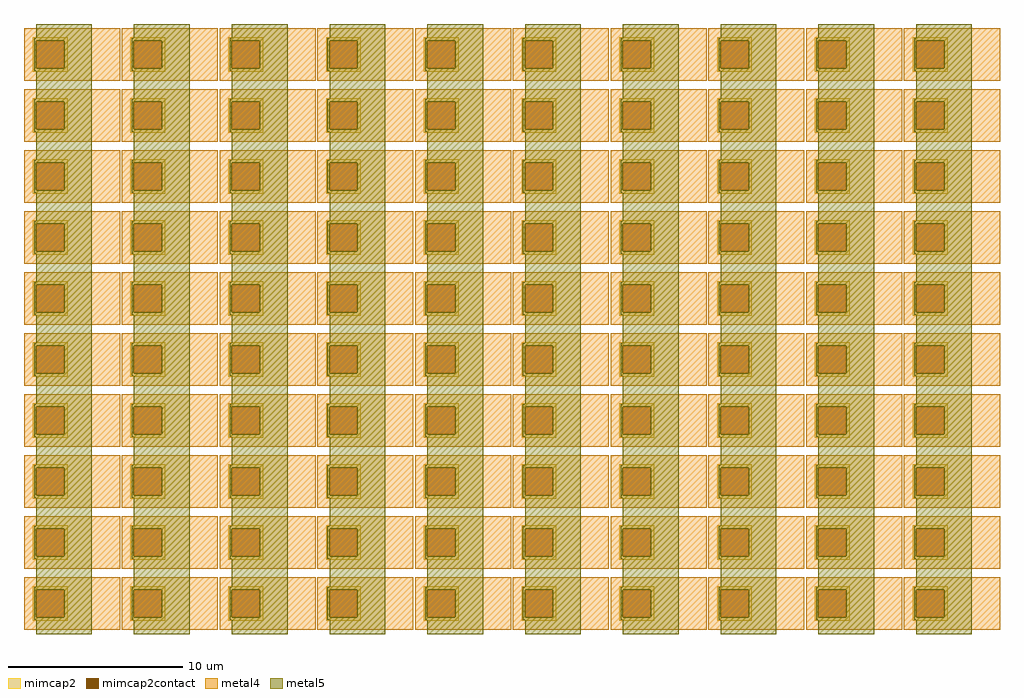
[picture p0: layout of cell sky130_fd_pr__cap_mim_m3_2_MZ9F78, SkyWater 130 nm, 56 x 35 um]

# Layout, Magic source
magic
tech sky130A
<< metal4 >>
rect -2800 1425 -2249 1725
rect -2239 1425 -1688 1725
rect -1678 1425 -1127 1725
rect -1117 1425 -566 1725
rect -556 1425 -5 1725
rect 5 1425 556 1725
rect 566 1425 1117 1725
rect 1127 1425 1678 1725
rect 1688 1425 2239 1725
rect 2249 1425 2800 1725
rect -2800 1075 -2249 1375
rect -2239 1075 -1688 1375
rect -1678 1075 -1127 1375
rect -1117 1075 -566 1375
rect -556 1075 -5 1375
rect 5 1075 556 1375
rect 566 1075 1117 1375
rect 1127 1075 1678 1375
rect 1688 1075 2239 1375
rect 2249 1075 2800 1375
rect -2800 725 -2249 1025
rect -2239 725 -1688 1025
rect -1678 725 -1127 1025
rect -1117 725 -566 1025
rect -556 725 -5 1025
rect 5 725 556 1025
rect 566 725 1117 1025
rect 1127 725 1678 1025
rect 1688 725 2239 1025
rect 2249 725 2800 1025
rect -2800 375 -2249 675
rect -2239 375 -1688 675
rect -1678 375 -1127 675
rect -1117 375 -566 675
rect -556 375 -5 675
rect 5 375 556 675
rect 566 375 1117 675
rect 1127 375 1678 675
rect 1688 375 2239 675
rect 2249 375 2800 675
rect -2800 25 -2249 325
rect -2239 25 -1688 325
rect -1678 25 -1127 325
rect -1117 25 -566 325
rect -556 25 -5 325
rect 5 25 556 325
rect 566 25 1117 325
rect 1127 25 1678 325
rect 1688 25 2239 325
rect 2249 25 2800 325
rect -2800 -325 -2249 -25
rect -2239 -325 -1688 -25
rect -1678 -325 -1127 -25
rect -1117 -325 -566 -25
rect -556 -325 -5 -25
rect 5 -325 556 -25
rect 566 -325 1117 -25
rect 1127 -325 1678 -25
rect 1688 -325 2239 -25
rect 2249 -325 2800 -25
rect -2800 -675 -2249 -375
rect -2239 -675 -1688 -375
rect -1678 -675 -1127 -375
rect -1117 -675 -566 -375
rect -556 -675 -5 -375
rect 5 -675 556 -375
rect 566 -675 1117 -375
rect 1127 -675 1678 -375
rect 1688 -675 2239 -375
rect 2249 -675 2800 -375
rect -2800 -1025 -2249 -725
rect -2239 -1025 -1688 -725
rect -1678 -1025 -1127 -725
rect -1117 -1025 -566 -725
rect -556 -1025 -5 -725
rect 5 -1025 556 -725
rect 566 -1025 1117 -725
rect 1127 -1025 1678 -725
rect 1688 -1025 2239 -725
rect 2249 -1025 2800 -725
rect -2800 -1375 -2249 -1075
rect -2239 -1375 -1688 -1075
rect -1678 -1375 -1127 -1075
rect -1117 -1375 -566 -1075
rect -556 -1375 -5 -1075
rect 5 -1375 556 -1075
rect 566 -1375 1117 -1075
rect 1127 -1375 1678 -1075
rect 1688 -1375 2239 -1075
rect 2249 -1375 2800 -1075
rect -2800 -1725 -2249 -1425
rect -2239 -1725 -1688 -1425
rect -1678 -1725 -1127 -1425
rect -1117 -1725 -566 -1425
rect -556 -1725 -5 -1425
rect 5 -1725 556 -1425
rect 566 -1725 1117 -1425
rect 1127 -1725 1678 -1425
rect 1688 -1725 2239 -1425
rect 2249 -1725 2800 -1425
<< mimcap2 >>
rect -2750 1655 -2550 1675
rect -2750 1495 -2730 1655
rect -2570 1495 -2550 1655
rect -2750 1475 -2550 1495
rect -2189 1655 -1989 1675
rect -2189 1495 -2169 1655
rect -2009 1495 -1989 1655
rect -2189 1475 -1989 1495
rect -1628 1655 -1428 1675
rect -1628 1495 -1608 1655
rect -1448 1495 -1428 1655
rect -1628 1475 -1428 1495
rect -1067 1655 -867 1675
rect -1067 1495 -1047 1655
rect -887 1495 -867 1655
rect -1067 1475 -867 1495
rect -506 1655 -306 1675
rect -506 1495 -486 1655
rect -326 1495 -306 1655
rect -506 1475 -306 1495
rect 55 1655 255 1675
rect 55 1495 75 1655
rect 235 1495 255 1655
rect 55 1475 255 1495
rect 616 1655 816 1675
rect 616 1495 636 1655
rect 796 1495 816 1655
rect 616 1475 816 1495
rect 1177 1655 1377 1675
rect 1177 1495 1197 1655
rect 1357 1495 1377 1655
rect 1177 1475 1377 1495
rect 1738 1655 1938 1675
rect 1738 1495 1758 1655
rect 1918 1495 1938 1655
rect 1738 1475 1938 1495
rect 2299 1655 2499 1675
rect 2299 1495 2319 1655
rect 2479 1495 2499 1655
rect 2299 1475 2499 1495
rect -2750 1305 -2550 1325
rect -2750 1145 -2730 1305
rect -2570 1145 -2550 1305
rect -2750 1125 -2550 1145
rect -2189 1305 -1989 1325
rect -2189 1145 -2169 1305
rect -2009 1145 -1989 1305
rect -2189 1125 -1989 1145
rect -1628 1305 -1428 1325
rect -1628 1145 -1608 1305
rect -1448 1145 -1428 1305
rect -1628 1125 -1428 1145
rect -1067 1305 -867 1325
rect -1067 1145 -1047 1305
rect -887 1145 -867 1305
rect -1067 1125 -867 1145
rect -506 1305 -306 1325
rect -506 1145 -486 1305
rect -326 1145 -306 1305
rect -506 1125 -306 1145
rect 55 1305 255 1325
rect 55 1145 75 1305
rect 235 1145 255 1305
rect 55 1125 255 1145
rect 616 1305 816 1325
rect 616 1145 636 1305
rect 796 1145 816 1305
rect 616 1125 816 1145
rect 1177 1305 1377 1325
rect 1177 1145 1197 1305
rect 1357 1145 1377 1305
rect 1177 1125 1377 1145
rect 1738 1305 1938 1325
rect 1738 1145 1758 1305
rect 1918 1145 1938 1305
rect 1738 1125 1938 1145
rect 2299 1305 2499 1325
rect 2299 1145 2319 1305
rect 2479 1145 2499 1305
rect 2299 1125 2499 1145
rect -2750 955 -2550 975
rect -2750 795 -2730 955
rect -2570 795 -2550 955
rect -2750 775 -2550 795
rect -2189 955 -1989 975
rect -2189 795 -2169 955
rect -2009 795 -1989 955
rect -2189 775 -1989 795
rect -1628 955 -1428 975
rect -1628 795 -1608 955
rect -1448 795 -1428 955
rect -1628 775 -1428 795
rect -1067 955 -867 975
rect -1067 795 -1047 955
rect -887 795 -867 955
rect -1067 775 -867 795
rect -506 955 -306 975
rect -506 795 -486 955
rect -326 795 -306 955
rect -506 775 -306 795
rect 55 955 255 975
rect 55 795 75 955
rect 235 795 255 955
rect 55 775 255 795
rect 616 955 816 975
rect 616 795 636 955
rect 796 795 816 955
rect 616 775 816 795
rect 1177 955 1377 975
rect 1177 795 1197 955
rect 1357 795 1377 955
rect 1177 775 1377 795
rect 1738 955 1938 975
rect 1738 795 1758 955
rect 1918 795 1938 955
rect 1738 775 1938 795
rect 2299 955 2499 975
rect 2299 795 2319 955
rect 2479 795 2499 955
rect 2299 775 2499 795
rect -2750 605 -2550 625
rect -2750 445 -2730 605
rect -2570 445 -2550 605
rect -2750 425 -2550 445
rect -2189 605 -1989 625
rect -2189 445 -2169 605
rect -2009 445 -1989 605
rect -2189 425 -1989 445
rect -1628 605 -1428 625
rect -1628 445 -1608 605
rect -1448 445 -1428 605
rect -1628 425 -1428 445
rect -1067 605 -867 625
rect -1067 445 -1047 605
rect -887 445 -867 605
rect -1067 425 -867 445
rect -506 605 -306 625
rect -506 445 -486 605
rect -326 445 -306 605
rect -506 425 -306 445
rect 55 605 255 625
rect 55 445 75 605
rect 235 445 255 605
rect 55 425 255 445
rect 616 605 816 625
rect 616 445 636 605
rect 796 445 816 605
rect 616 425 816 445
rect 1177 605 1377 625
rect 1177 445 1197 605
rect 1357 445 1377 605
rect 1177 425 1377 445
rect 1738 605 1938 625
rect 1738 445 1758 605
rect 1918 445 1938 605
rect 1738 425 1938 445
rect 2299 605 2499 625
rect 2299 445 2319 605
rect 2479 445 2499 605
rect 2299 425 2499 445
rect -2750 255 -2550 275
rect -2750 95 -2730 255
rect -2570 95 -2550 255
rect -2750 75 -2550 95
rect -2189 255 -1989 275
rect -2189 95 -2169 255
rect -2009 95 -1989 255
rect -2189 75 -1989 95
rect -1628 255 -1428 275
rect -1628 95 -1608 255
rect -1448 95 -1428 255
rect -1628 75 -1428 95
rect -1067 255 -867 275
rect -1067 95 -1047 255
rect -887 95 -867 255
rect -1067 75 -867 95
rect -506 255 -306 275
rect -506 95 -486 255
rect -326 95 -306 255
rect -506 75 -306 95
rect 55 255 255 275
rect 55 95 75 255
rect 235 95 255 255
rect 55 75 255 95
rect 616 255 816 275
rect 616 95 636 255
rect 796 95 816 255
rect 616 75 816 95
rect 1177 255 1377 275
rect 1177 95 1197 255
rect 1357 95 1377 255
rect 1177 75 1377 95
rect 1738 255 1938 275
rect 1738 95 1758 255
rect 1918 95 1938 255
rect 1738 75 1938 95
rect 2299 255 2499 275
rect 2299 95 2319 255
rect 2479 95 2499 255
rect 2299 75 2499 95
rect -2750 -95 -2550 -75
rect -2750 -255 -2730 -95
rect -2570 -255 -2550 -95
rect -2750 -275 -2550 -255
rect -2189 -95 -1989 -75
rect -2189 -255 -2169 -95
rect -2009 -255 -1989 -95
rect -2189 -275 -1989 -255
rect -1628 -95 -1428 -75
rect -1628 -255 -1608 -95
rect -1448 -255 -1428 -95
rect -1628 -275 -1428 -255
rect -1067 -95 -867 -75
rect -1067 -255 -1047 -95
rect -887 -255 -867 -95
rect -1067 -275 -867 -255
rect -506 -95 -306 -75
rect -506 -255 -486 -95
rect -326 -255 -306 -95
rect -506 -275 -306 -255
rect 55 -95 255 -75
rect 55 -255 75 -95
rect 235 -255 255 -95
rect 55 -275 255 -255
rect 616 -95 816 -75
rect 616 -255 636 -95
rect 796 -255 816 -95
rect 616 -275 816 -255
rect 1177 -95 1377 -75
rect 1177 -255 1197 -95
rect 1357 -255 1377 -95
rect 1177 -275 1377 -255
rect 1738 -95 1938 -75
rect 1738 -255 1758 -95
rect 1918 -255 1938 -95
rect 1738 -275 1938 -255
rect 2299 -95 2499 -75
rect 2299 -255 2319 -95
rect 2479 -255 2499 -95
rect 2299 -275 2499 -255
rect -2750 -445 -2550 -425
rect -2750 -605 -2730 -445
rect -2570 -605 -2550 -445
rect -2750 -625 -2550 -605
rect -2189 -445 -1989 -425
rect -2189 -605 -2169 -445
rect -2009 -605 -1989 -445
rect -2189 -625 -1989 -605
rect -1628 -445 -1428 -425
rect -1628 -605 -1608 -445
rect -1448 -605 -1428 -445
rect -1628 -625 -1428 -605
rect -1067 -445 -867 -425
rect -1067 -605 -1047 -445
rect -887 -605 -867 -445
rect -1067 -625 -867 -605
rect -506 -445 -306 -425
rect -506 -605 -486 -445
rect -326 -605 -306 -445
rect -506 -625 -306 -605
rect 55 -445 255 -425
rect 55 -605 75 -445
rect 235 -605 255 -445
rect 55 -625 255 -605
rect 616 -445 816 -425
rect 616 -605 636 -445
rect 796 -605 816 -445
rect 616 -625 816 -605
rect 1177 -445 1377 -425
rect 1177 -605 1197 -445
rect 1357 -605 1377 -445
rect 1177 -625 1377 -605
rect 1738 -445 1938 -425
rect 1738 -605 1758 -445
rect 1918 -605 1938 -445
rect 1738 -625 1938 -605
rect 2299 -445 2499 -425
rect 2299 -605 2319 -445
rect 2479 -605 2499 -445
rect 2299 -625 2499 -605
rect -2750 -795 -2550 -775
rect -2750 -955 -2730 -795
rect -2570 -955 -2550 -795
rect -2750 -975 -2550 -955
rect -2189 -795 -1989 -775
rect -2189 -955 -2169 -795
rect -2009 -955 -1989 -795
rect -2189 -975 -1989 -955
rect -1628 -795 -1428 -775
rect -1628 -955 -1608 -795
rect -1448 -955 -1428 -795
rect -1628 -975 -1428 -955
rect -1067 -795 -867 -775
rect -1067 -955 -1047 -795
rect -887 -955 -867 -795
rect -1067 -975 -867 -955
rect -506 -795 -306 -775
rect -506 -955 -486 -795
rect -326 -955 -306 -795
rect -506 -975 -306 -955
rect 55 -795 255 -775
rect 55 -955 75 -795
rect 235 -955 255 -795
rect 55 -975 255 -955
rect 616 -795 816 -775
rect 616 -955 636 -795
rect 796 -955 816 -795
rect 616 -975 816 -955
rect 1177 -795 1377 -775
rect 1177 -955 1197 -795
rect 1357 -955 1377 -795
rect 1177 -975 1377 -955
rect 1738 -795 1938 -775
rect 1738 -955 1758 -795
rect 1918 -955 1938 -795
rect 1738 -975 1938 -955
rect 2299 -795 2499 -775
rect 2299 -955 2319 -795
rect 2479 -955 2499 -795
rect 2299 -975 2499 -955
rect -2750 -1145 -2550 -1125
rect -2750 -1305 -2730 -1145
rect -2570 -1305 -2550 -1145
rect -2750 -1325 -2550 -1305
rect -2189 -1145 -1989 -1125
rect -2189 -1305 -2169 -1145
rect -2009 -1305 -1989 -1145
rect -2189 -1325 -1989 -1305
rect -1628 -1145 -1428 -1125
rect -1628 -1305 -1608 -1145
rect -1448 -1305 -1428 -1145
rect -1628 -1325 -1428 -1305
rect -1067 -1145 -867 -1125
rect -1067 -1305 -1047 -1145
rect -887 -1305 -867 -1145
rect -1067 -1325 -867 -1305
rect -506 -1145 -306 -1125
rect -506 -1305 -486 -1145
rect -326 -1305 -306 -1145
rect -506 -1325 -306 -1305
rect 55 -1145 255 -1125
rect 55 -1305 75 -1145
rect 235 -1305 255 -1145
rect 55 -1325 255 -1305
rect 616 -1145 816 -1125
rect 616 -1305 636 -1145
rect 796 -1305 816 -1145
rect 616 -1325 816 -1305
rect 1177 -1145 1377 -1125
rect 1177 -1305 1197 -1145
rect 1357 -1305 1377 -1145
rect 1177 -1325 1377 -1305
rect 1738 -1145 1938 -1125
rect 1738 -1305 1758 -1145
rect 1918 -1305 1938 -1145
rect 1738 -1325 1938 -1305
rect 2299 -1145 2499 -1125
rect 2299 -1305 2319 -1145
rect 2479 -1305 2499 -1145
rect 2299 -1325 2499 -1305
rect -2750 -1495 -2550 -1475
rect -2750 -1655 -2730 -1495
rect -2570 -1655 -2550 -1495
rect -2750 -1675 -2550 -1655
rect -2189 -1495 -1989 -1475
rect -2189 -1655 -2169 -1495
rect -2009 -1655 -1989 -1495
rect -2189 -1675 -1989 -1655
rect -1628 -1495 -1428 -1475
rect -1628 -1655 -1608 -1495
rect -1448 -1655 -1428 -1495
rect -1628 -1675 -1428 -1655
rect -1067 -1495 -867 -1475
rect -1067 -1655 -1047 -1495
rect -887 -1655 -867 -1495
rect -1067 -1675 -867 -1655
rect -506 -1495 -306 -1475
rect -506 -1655 -486 -1495
rect -326 -1655 -306 -1495
rect -506 -1675 -306 -1655
rect 55 -1495 255 -1475
rect 55 -1655 75 -1495
rect 235 -1655 255 -1495
rect 55 -1675 255 -1655
rect 616 -1495 816 -1475
rect 616 -1655 636 -1495
rect 796 -1655 816 -1495
rect 616 -1675 816 -1655
rect 1177 -1495 1377 -1475
rect 1177 -1655 1197 -1495
rect 1357 -1655 1377 -1495
rect 1177 -1675 1377 -1655
rect 1738 -1495 1938 -1475
rect 1738 -1655 1758 -1495
rect 1918 -1655 1938 -1495
rect 1738 -1675 1938 -1655
rect 2299 -1495 2499 -1475
rect 2299 -1655 2319 -1495
rect 2479 -1655 2499 -1495
rect 2299 -1675 2499 -1655
<< mimcap2contact >>
rect -2730 1495 -2570 1655
rect -2169 1495 -2009 1655
rect -1608 1495 -1448 1655
rect -1047 1495 -887 1655
rect -486 1495 -326 1655
rect 75 1495 235 1655
rect 636 1495 796 1655
rect 1197 1495 1357 1655
rect 1758 1495 1918 1655
rect 2319 1495 2479 1655
rect -2730 1145 -2570 1305
rect -2169 1145 -2009 1305
rect -1608 1145 -1448 1305
rect -1047 1145 -887 1305
rect -486 1145 -326 1305
rect 75 1145 235 1305
rect 636 1145 796 1305
rect 1197 1145 1357 1305
rect 1758 1145 1918 1305
rect 2319 1145 2479 1305
rect -2730 795 -2570 955
rect -2169 795 -2009 955
rect -1608 795 -1448 955
rect -1047 795 -887 955
rect -486 795 -326 955
rect 75 795 235 955
rect 636 795 796 955
rect 1197 795 1357 955
rect 1758 795 1918 955
rect 2319 795 2479 955
rect -2730 445 -2570 605
rect -2169 445 -2009 605
rect -1608 445 -1448 605
rect -1047 445 -887 605
rect -486 445 -326 605
rect 75 445 235 605
rect 636 445 796 605
rect 1197 445 1357 605
rect 1758 445 1918 605
rect 2319 445 2479 605
rect -2730 95 -2570 255
rect -2169 95 -2009 255
rect -1608 95 -1448 255
rect -1047 95 -887 255
rect -486 95 -326 255
rect 75 95 235 255
rect 636 95 796 255
rect 1197 95 1357 255
rect 1758 95 1918 255
rect 2319 95 2479 255
rect -2730 -255 -2570 -95
rect -2169 -255 -2009 -95
rect -1608 -255 -1448 -95
rect -1047 -255 -887 -95
rect -486 -255 -326 -95
rect 75 -255 235 -95
rect 636 -255 796 -95
rect 1197 -255 1357 -95
rect 1758 -255 1918 -95
rect 2319 -255 2479 -95
rect -2730 -605 -2570 -445
rect -2169 -605 -2009 -445
rect -1608 -605 -1448 -445
rect -1047 -605 -887 -445
rect -486 -605 -326 -445
rect 75 -605 235 -445
rect 636 -605 796 -445
rect 1197 -605 1357 -445
rect 1758 -605 1918 -445
rect 2319 -605 2479 -445
rect -2730 -955 -2570 -795
rect -2169 -955 -2009 -795
rect -1608 -955 -1448 -795
rect -1047 -955 -887 -795
rect -486 -955 -326 -795
rect 75 -955 235 -795
rect 636 -955 796 -795
rect 1197 -955 1357 -795
rect 1758 -955 1918 -795
rect 2319 -955 2479 -795
rect -2730 -1305 -2570 -1145
rect -2169 -1305 -2009 -1145
rect -1608 -1305 -1448 -1145
rect -1047 -1305 -887 -1145
rect -486 -1305 -326 -1145
rect 75 -1305 235 -1145
rect 636 -1305 796 -1145
rect 1197 -1305 1357 -1145
rect 1758 -1305 1918 -1145
rect 2319 -1305 2479 -1145
rect -2730 -1655 -2570 -1495
rect -2169 -1655 -2009 -1495
rect -1608 -1655 -1448 -1495
rect -1047 -1655 -887 -1495
rect -486 -1655 -326 -1495
rect 75 -1655 235 -1495
rect 636 -1655 796 -1495
rect 1197 -1655 1357 -1495
rect 1758 -1655 1918 -1495
rect 2319 -1655 2479 -1495
<< metal5 >>
rect -2730 1667 -2410 1750
rect -2169 1667 -1849 1750
rect -1608 1667 -1288 1750
rect -1047 1667 -727 1750
rect -486 1667 -166 1750
rect 75 1667 395 1750
rect 636 1667 956 1750
rect 1197 1667 1517 1750
rect 1758 1667 2078 1750
rect 2319 1667 2639 1750
rect -2742 1655 -2410 1667
rect -2742 1495 -2730 1655
rect -2570 1495 -2410 1655
rect -2742 1483 -2410 1495
rect -2181 1655 -1849 1667
rect -2181 1495 -2169 1655
rect -2009 1495 -1849 1655
rect -2181 1483 -1849 1495
rect -1620 1655 -1288 1667
rect -1620 1495 -1608 1655
rect -1448 1495 -1288 1655
rect -1620 1483 -1288 1495
rect -1059 1655 -727 1667
rect -1059 1495 -1047 1655
rect -887 1495 -727 1655
rect -1059 1483 -727 1495
rect -498 1655 -166 1667
rect -498 1495 -486 1655
rect -326 1495 -166 1655
rect -498 1483 -166 1495
rect 63 1655 395 1667
rect 63 1495 75 1655
rect 235 1495 395 1655
rect 63 1483 395 1495
rect 624 1655 956 1667
rect 624 1495 636 1655
rect 796 1495 956 1655
rect 624 1483 956 1495
rect 1185 1655 1517 1667
rect 1185 1495 1197 1655
rect 1357 1495 1517 1655
rect 1185 1483 1517 1495
rect 1746 1655 2078 1667
rect 1746 1495 1758 1655
rect 1918 1495 2078 1655
rect 1746 1483 2078 1495
rect 2307 1655 2639 1667
rect 2307 1495 2319 1655
rect 2479 1495 2639 1655
rect 2307 1483 2639 1495
rect -2730 1317 -2410 1483
rect -2169 1317 -1849 1483
rect -1608 1317 -1288 1483
rect -1047 1317 -727 1483
rect -486 1317 -166 1483
rect 75 1317 395 1483
rect 636 1317 956 1483
rect 1197 1317 1517 1483
rect 1758 1317 2078 1483
rect 2319 1317 2639 1483
rect -2742 1305 -2410 1317
rect -2742 1145 -2730 1305
rect -2570 1145 -2410 1305
rect -2742 1133 -2410 1145
rect -2181 1305 -1849 1317
rect -2181 1145 -2169 1305
rect -2009 1145 -1849 1305
rect -2181 1133 -1849 1145
rect -1620 1305 -1288 1317
rect -1620 1145 -1608 1305
rect -1448 1145 -1288 1305
rect -1620 1133 -1288 1145
rect -1059 1305 -727 1317
rect -1059 1145 -1047 1305
rect -887 1145 -727 1305
rect -1059 1133 -727 1145
rect -498 1305 -166 1317
rect -498 1145 -486 1305
rect -326 1145 -166 1305
rect -498 1133 -166 1145
rect 63 1305 395 1317
rect 63 1145 75 1305
rect 235 1145 395 1305
rect 63 1133 395 1145
rect 624 1305 956 1317
rect 624 1145 636 1305
rect 796 1145 956 1305
rect 624 1133 956 1145
rect 1185 1305 1517 1317
rect 1185 1145 1197 1305
rect 1357 1145 1517 1305
rect 1185 1133 1517 1145
rect 1746 1305 2078 1317
rect 1746 1145 1758 1305
rect 1918 1145 2078 1305
rect 1746 1133 2078 1145
rect 2307 1305 2639 1317
rect 2307 1145 2319 1305
rect 2479 1145 2639 1305
rect 2307 1133 2639 1145
rect -2730 967 -2410 1133
rect -2169 967 -1849 1133
rect -1608 967 -1288 1133
rect -1047 967 -727 1133
rect -486 967 -166 1133
rect 75 967 395 1133
rect 636 967 956 1133
rect 1197 967 1517 1133
rect 1758 967 2078 1133
rect 2319 967 2639 1133
rect -2742 955 -2410 967
rect -2742 795 -2730 955
rect -2570 795 -2410 955
rect -2742 783 -2410 795
rect -2181 955 -1849 967
rect -2181 795 -2169 955
rect -2009 795 -1849 955
rect -2181 783 -1849 795
rect -1620 955 -1288 967
rect -1620 795 -1608 955
rect -1448 795 -1288 955
rect -1620 783 -1288 795
rect -1059 955 -727 967
rect -1059 795 -1047 955
rect -887 795 -727 955
rect -1059 783 -727 795
rect -498 955 -166 967
rect -498 795 -486 955
rect -326 795 -166 955
rect -498 783 -166 795
rect 63 955 395 967
rect 63 795 75 955
rect 235 795 395 955
rect 63 783 395 795
rect 624 955 956 967
rect 624 795 636 955
rect 796 795 956 955
rect 624 783 956 795
rect 1185 955 1517 967
rect 1185 795 1197 955
rect 1357 795 1517 955
rect 1185 783 1517 795
rect 1746 955 2078 967
rect 1746 795 1758 955
rect 1918 795 2078 955
rect 1746 783 2078 795
rect 2307 955 2639 967
rect 2307 795 2319 955
rect 2479 795 2639 955
rect 2307 783 2639 795
rect -2730 617 -2410 783
rect -2169 617 -1849 783
rect -1608 617 -1288 783
rect -1047 617 -727 783
rect -486 617 -166 783
rect 75 617 395 783
rect 636 617 956 783
rect 1197 617 1517 783
rect 1758 617 2078 783
rect 2319 617 2639 783
rect -2742 605 -2410 617
rect -2742 445 -2730 605
rect -2570 445 -2410 605
rect -2742 433 -2410 445
rect -2181 605 -1849 617
rect -2181 445 -2169 605
rect -2009 445 -1849 605
rect -2181 433 -1849 445
rect -1620 605 -1288 617
rect -1620 445 -1608 605
rect -1448 445 -1288 605
rect -1620 433 -1288 445
rect -1059 605 -727 617
rect -1059 445 -1047 605
rect -887 445 -727 605
rect -1059 433 -727 445
rect -498 605 -166 617
rect -498 445 -486 605
rect -326 445 -166 605
rect -498 433 -166 445
rect 63 605 395 617
rect 63 445 75 605
rect 235 445 395 605
rect 63 433 395 445
rect 624 605 956 617
rect 624 445 636 605
rect 796 445 956 605
rect 624 433 956 445
rect 1185 605 1517 617
rect 1185 445 1197 605
rect 1357 445 1517 605
rect 1185 433 1517 445
rect 1746 605 2078 617
rect 1746 445 1758 605
rect 1918 445 2078 605
rect 1746 433 2078 445
rect 2307 605 2639 617
rect 2307 445 2319 605
rect 2479 445 2639 605
rect 2307 433 2639 445
rect -2730 267 -2410 433
rect -2169 267 -1849 433
rect -1608 267 -1288 433
rect -1047 267 -727 433
rect -486 267 -166 433
rect 75 267 395 433
rect 636 267 956 433
rect 1197 267 1517 433
rect 1758 267 2078 433
rect 2319 267 2639 433
rect -2742 255 -2410 267
rect -2742 95 -2730 255
rect -2570 95 -2410 255
rect -2742 83 -2410 95
rect -2181 255 -1849 267
rect -2181 95 -2169 255
rect -2009 95 -1849 255
rect -2181 83 -1849 95
rect -1620 255 -1288 267
rect -1620 95 -1608 255
rect -1448 95 -1288 255
rect -1620 83 -1288 95
rect -1059 255 -727 267
rect -1059 95 -1047 255
rect -887 95 -727 255
rect -1059 83 -727 95
rect -498 255 -166 267
rect -498 95 -486 255
rect -326 95 -166 255
rect -498 83 -166 95
rect 63 255 395 267
rect 63 95 75 255
rect 235 95 395 255
rect 63 83 395 95
rect 624 255 956 267
rect 624 95 636 255
rect 796 95 956 255
rect 624 83 956 95
rect 1185 255 1517 267
rect 1185 95 1197 255
rect 1357 95 1517 255
rect 1185 83 1517 95
rect 1746 255 2078 267
rect 1746 95 1758 255
rect 1918 95 2078 255
rect 1746 83 2078 95
rect 2307 255 2639 267
rect 2307 95 2319 255
rect 2479 95 2639 255
rect 2307 83 2639 95
rect -2730 -83 -2410 83
rect -2169 -83 -1849 83
rect -1608 -83 -1288 83
rect -1047 -83 -727 83
rect -486 -83 -166 83
rect 75 -83 395 83
rect 636 -83 956 83
rect 1197 -83 1517 83
rect 1758 -83 2078 83
rect 2319 -83 2639 83
rect -2742 -95 -2410 -83
rect -2742 -255 -2730 -95
rect -2570 -255 -2410 -95
rect -2742 -267 -2410 -255
rect -2181 -95 -1849 -83
rect -2181 -255 -2169 -95
rect -2009 -255 -1849 -95
rect -2181 -267 -1849 -255
rect -1620 -95 -1288 -83
rect -1620 -255 -1608 -95
rect -1448 -255 -1288 -95
rect -1620 -267 -1288 -255
rect -1059 -95 -727 -83
rect -1059 -255 -1047 -95
rect -887 -255 -727 -95
rect -1059 -267 -727 -255
rect -498 -95 -166 -83
rect -498 -255 -486 -95
rect -326 -255 -166 -95
rect -498 -267 -166 -255
rect 63 -95 395 -83
rect 63 -255 75 -95
rect 235 -255 395 -95
rect 63 -267 395 -255
rect 624 -95 956 -83
rect 624 -255 636 -95
rect 796 -255 956 -95
rect 624 -267 956 -255
rect 1185 -95 1517 -83
rect 1185 -255 1197 -95
rect 1357 -255 1517 -95
rect 1185 -267 1517 -255
rect 1746 -95 2078 -83
rect 1746 -255 1758 -95
rect 1918 -255 2078 -95
rect 1746 -267 2078 -255
rect 2307 -95 2639 -83
rect 2307 -255 2319 -95
rect 2479 -255 2639 -95
rect 2307 -267 2639 -255
rect -2730 -433 -2410 -267
rect -2169 -433 -1849 -267
rect -1608 -433 -1288 -267
rect -1047 -433 -727 -267
rect -486 -433 -166 -267
rect 75 -433 395 -267
rect 636 -433 956 -267
rect 1197 -433 1517 -267
rect 1758 -433 2078 -267
rect 2319 -433 2639 -267
rect -2742 -445 -2410 -433
rect -2742 -605 -2730 -445
rect -2570 -605 -2410 -445
rect -2742 -617 -2410 -605
rect -2181 -445 -1849 -433
rect -2181 -605 -2169 -445
rect -2009 -605 -1849 -445
rect -2181 -617 -1849 -605
rect -1620 -445 -1288 -433
rect -1620 -605 -1608 -445
rect -1448 -605 -1288 -445
rect -1620 -617 -1288 -605
rect -1059 -445 -727 -433
rect -1059 -605 -1047 -445
rect -887 -605 -727 -445
rect -1059 -617 -727 -605
rect -498 -445 -166 -433
rect -498 -605 -486 -445
rect -326 -605 -166 -445
rect -498 -617 -166 -605
rect 63 -445 395 -433
rect 63 -605 75 -445
rect 235 -605 395 -445
rect 63 -617 395 -605
rect 624 -445 956 -433
rect 624 -605 636 -445
rect 796 -605 956 -445
rect 624 -617 956 -605
rect 1185 -445 1517 -433
rect 1185 -605 1197 -445
rect 1357 -605 1517 -445
rect 1185 -617 1517 -605
rect 1746 -445 2078 -433
rect 1746 -605 1758 -445
rect 1918 -605 2078 -445
rect 1746 -617 2078 -605
rect 2307 -445 2639 -433
rect 2307 -605 2319 -445
rect 2479 -605 2639 -445
rect 2307 -617 2639 -605
rect -2730 -783 -2410 -617
rect -2169 -783 -1849 -617
rect -1608 -783 -1288 -617
rect -1047 -783 -727 -617
rect -486 -783 -166 -617
rect 75 -783 395 -617
rect 636 -783 956 -617
rect 1197 -783 1517 -617
rect 1758 -783 2078 -617
rect 2319 -783 2639 -617
rect -2742 -795 -2410 -783
rect -2742 -955 -2730 -795
rect -2570 -955 -2410 -795
rect -2742 -967 -2410 -955
rect -2181 -795 -1849 -783
rect -2181 -955 -2169 -795
rect -2009 -955 -1849 -795
rect -2181 -967 -1849 -955
rect -1620 -795 -1288 -783
rect -1620 -955 -1608 -795
rect -1448 -955 -1288 -795
rect -1620 -967 -1288 -955
rect -1059 -795 -727 -783
rect -1059 -955 -1047 -795
rect -887 -955 -727 -795
rect -1059 -967 -727 -955
rect -498 -795 -166 -783
rect -498 -955 -486 -795
rect -326 -955 -166 -795
rect -498 -967 -166 -955
rect 63 -795 395 -783
rect 63 -955 75 -795
rect 235 -955 395 -795
rect 63 -967 395 -955
rect 624 -795 956 -783
rect 624 -955 636 -795
rect 796 -955 956 -795
rect 624 -967 956 -955
rect 1185 -795 1517 -783
rect 1185 -955 1197 -795
rect 1357 -955 1517 -795
rect 1185 -967 1517 -955
rect 1746 -795 2078 -783
rect 1746 -955 1758 -795
rect 1918 -955 2078 -795
rect 1746 -967 2078 -955
rect 2307 -795 2639 -783
rect 2307 -955 2319 -795
rect 2479 -955 2639 -795
rect 2307 -967 2639 -955
rect -2730 -1133 -2410 -967
rect -2169 -1133 -1849 -967
rect -1608 -1133 -1288 -967
rect -1047 -1133 -727 -967
rect -486 -1133 -166 -967
rect 75 -1133 395 -967
rect 636 -1133 956 -967
rect 1197 -1133 1517 -967
rect 1758 -1133 2078 -967
rect 2319 -1133 2639 -967
rect -2742 -1145 -2410 -1133
rect -2742 -1305 -2730 -1145
rect -2570 -1305 -2410 -1145
rect -2742 -1317 -2410 -1305
rect -2181 -1145 -1849 -1133
rect -2181 -1305 -2169 -1145
rect -2009 -1305 -1849 -1145
rect -2181 -1317 -1849 -1305
rect -1620 -1145 -1288 -1133
rect -1620 -1305 -1608 -1145
rect -1448 -1305 -1288 -1145
rect -1620 -1317 -1288 -1305
rect -1059 -1145 -727 -1133
rect -1059 -1305 -1047 -1145
rect -887 -1305 -727 -1145
rect -1059 -1317 -727 -1305
rect -498 -1145 -166 -1133
rect -498 -1305 -486 -1145
rect -326 -1305 -166 -1145
rect -498 -1317 -166 -1305
rect 63 -1145 395 -1133
rect 63 -1305 75 -1145
rect 235 -1305 395 -1145
rect 63 -1317 395 -1305
rect 624 -1145 956 -1133
rect 624 -1305 636 -1145
rect 796 -1305 956 -1145
rect 624 -1317 956 -1305
rect 1185 -1145 1517 -1133
rect 1185 -1305 1197 -1145
rect 1357 -1305 1517 -1145
rect 1185 -1317 1517 -1305
rect 1746 -1145 2078 -1133
rect 1746 -1305 1758 -1145
rect 1918 -1305 2078 -1145
rect 1746 -1317 2078 -1305
rect 2307 -1145 2639 -1133
rect 2307 -1305 2319 -1145
rect 2479 -1305 2639 -1145
rect 2307 -1317 2639 -1305
rect -2730 -1483 -2410 -1317
rect -2169 -1483 -1849 -1317
rect -1608 -1483 -1288 -1317
rect -1047 -1483 -727 -1317
rect -486 -1483 -166 -1317
rect 75 -1483 395 -1317
rect 636 -1483 956 -1317
rect 1197 -1483 1517 -1317
rect 1758 -1483 2078 -1317
rect 2319 -1483 2639 -1317
rect -2742 -1495 -2410 -1483
rect -2742 -1655 -2730 -1495
rect -2570 -1655 -2410 -1495
rect -2742 -1667 -2410 -1655
rect -2181 -1495 -1849 -1483
rect -2181 -1655 -2169 -1495
rect -2009 -1655 -1849 -1495
rect -2181 -1667 -1849 -1655
rect -1620 -1495 -1288 -1483
rect -1620 -1655 -1608 -1495
rect -1448 -1655 -1288 -1495
rect -1620 -1667 -1288 -1655
rect -1059 -1495 -727 -1483
rect -1059 -1655 -1047 -1495
rect -887 -1655 -727 -1495
rect -1059 -1667 -727 -1655
rect -498 -1495 -166 -1483
rect -498 -1655 -486 -1495
rect -326 -1655 -166 -1495
rect -498 -1667 -166 -1655
rect 63 -1495 395 -1483
rect 63 -1655 75 -1495
rect 235 -1655 395 -1495
rect 63 -1667 395 -1655
rect 624 -1495 956 -1483
rect 624 -1655 636 -1495
rect 796 -1655 956 -1495
rect 624 -1667 956 -1655
rect 1185 -1495 1517 -1483
rect 1185 -1655 1197 -1495
rect 1357 -1655 1517 -1495
rect 1185 -1667 1517 -1655
rect 1746 -1495 2078 -1483
rect 1746 -1655 1758 -1495
rect 1918 -1655 2078 -1495
rect 1746 -1667 2078 -1655
rect 2307 -1495 2639 -1483
rect 2307 -1655 2319 -1495
rect 2479 -1655 2639 -1495
rect 2307 -1667 2639 -1655
rect -2730 -1750 -2410 -1667
rect -2169 -1750 -1849 -1667
rect -1608 -1750 -1288 -1667
rect -1047 -1750 -727 -1667
rect -486 -1750 -166 -1667
rect 75 -1750 395 -1667
rect 636 -1750 956 -1667
rect 1197 -1750 1517 -1667
rect 1758 -1750 2078 -1667
rect 2319 -1750 2639 -1667
<< properties >>
string gencell sky130_fd_pr__cap_mim_m3_2
string FIXED_BBOX 2249 1425 2549 1725
string parameters w 2.00 l 2.00 val 5.36 carea 1.00 cperi 0.17 nx 10 ny 10 dummy 0 square 0 lmin 2.00 wmin 2.00 lmax 30.0 wmax 30.0 dc 0 bconnect 1 tconnect 1 ccov 100
string library sky130
<< end >>
